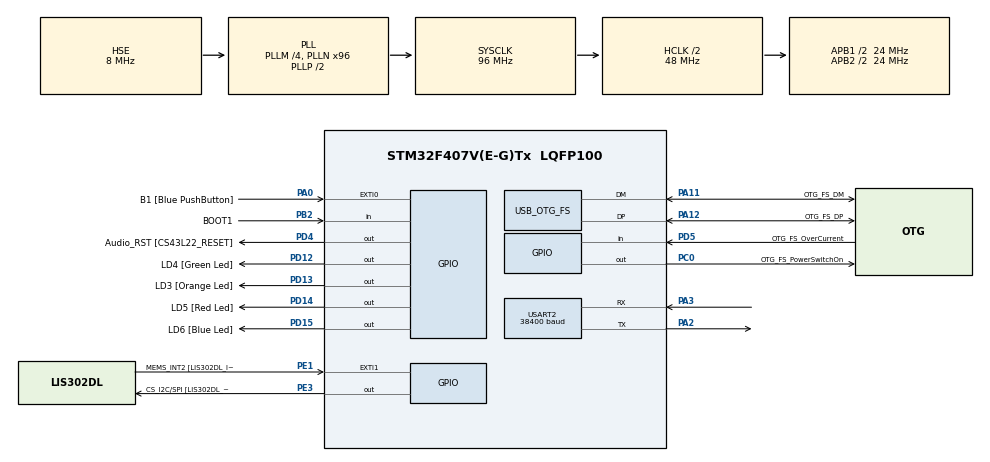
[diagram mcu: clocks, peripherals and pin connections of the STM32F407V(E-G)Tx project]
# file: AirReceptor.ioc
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Mcu.Family=STM32F4
Mcu.Name=STM32F407V(E-G)Tx
Mcu.Package=LQFP100
NVIC.OTG_FS_IRQn=true\:0\:0\:false\:false\:true\:true\:true\:true
NVIC.PriorityGroup=NVIC_PRIORITYGROUP_0
NVIC.USART2_IRQn=true\:0\:0\:false\:false\:true\:true\:true\:true
PA0-WKUP.GPIO_Label=B1 [Blue PushButton]
PA0-WKUP.GPIO_ModeDefaultEXTI=GPIO_MODE_EVT_RISING
PA0-WKUP.GPIO_PuPd=GPIO_NOPULL
PA0-WKUP.Signal=GPXTI0
PA10.GPIO_Label=OTG_FS_ID
PA10.GPIO_Mode=GPIO_MODE_AF_PP
PA10.GPIO_PuPd=GPIO_NOPULL
PA10.GPIO_Speed=GPIO_SPEED_FREQ_LOW
PA10.Signal=USB_OTG_FS_ID
PA11.GPIO_Label=OTG_FS_DM
PA11.GPIO_Mode=GPIO_MODE_AF_PP
PA11.GPIO_PuPd=GPIO_NOPULL
PA11.GPIO_Speed=GPIO_SPEED_FREQ_LOW
PA11.Mode=Device_Only
PA11.Signal=USB_OTG_FS_DM
PA12.GPIO_Label=OTG_FS_DP
PA12.GPIO_Mode=GPIO_MODE_AF_PP
PA12.GPIO_PuPd=GPIO_NOPULL
PA12.GPIO_Speed=GPIO_SPEED_FREQ_LOW
PA12.Mode=Device_Only
PA12.Signal=USB_OTG_FS_DP
PA13.GPIO_Label=SWDIO
PA13.Mode=Serial_Wire
PA13.Signal=SYS_JTMS-SWDIO
PA14.GPIO_Label=SWCLK
PA14.Mode=Serial_Wire
PA14.Signal=SYS_JTCK-SWCLK
PA2.Mode=Asynchronous
PA2.Signal=USART2_TX
PA3.Mode=Asynchronous
PA3.Signal=USART2_RX
PA4.GPIO_Label=I2S3_WS [CS43L22_LRCK]
PA4.GPIO_Mode=GPIO_MODE_AF_PP
PA4.GPIO_PuPd=GPIO_NOPULL
PA4.GPIO_Speed=GPIO_SPEED_FREQ_LOW
PA4.Signal=I2S3_WS
PA5.GPIO_Label=SPI1_SCK [LIS302DL_SCL/SPC]
PA5.GPIO_Mode=GPIO_MODE_AF_PP
PA5.GPIO_PuPd=GPIO_NOPULL
PA5.GPIO_Speed=GPIO_SPEED_FREQ_LOW
PA5.Signal=SPI1_SCK
PA6.GPIO_Label=SPI1_MISO [LIS302DL_SDO]
PA6.GPIO_Mode=GPIO_MODE_AF_PP
PA6.GPIO_PuPd=GPIO_NOPULL
PA6.GPIO_Speed=GPIO_SPEED_FREQ_LOW
PA6.Signal=SPI1_MISO
PA7.GPIO_Label=SPI1_MOSI [LIS302DL_SDA/SDI/SDO]
PA7.GPIO_Mode=GPIO_MODE_AF_PP
PA7.GPIO_PuPd=GPIO_NOPULL
PA7.GPIO_Speed=GPIO_SPEED_FREQ_LOW
PA7.Signal=SPI1_MOSI
PA9.GPIO_Label=VBUS_FS
PA9.GPIO_Mode=GPIO_MODE_INPUT
PA9.GPIO_PuPd=GPIO_NOPULL
PA9.Signal=USB_OTG_FS_VBUS
PB10.GPIO_Label=CLK_IN [MP45DT02_CLK]
PB10.GPIO_Mode=GPIO_MODE_AF_PP
PB10.GPIO_PuPd=GPIO_NOPULL
PB10.GPIO_Speed=GPIO_SPEED_FREQ_LOW
PB10.Signal=I2S2_CK
PB2.GPIO_Label=BOOT1
PB2.GPIO_Mode=GPIO_MODE_INPUT
PB2.GPIO_PuPd=GPIO_NOPULL
PB2.Signal=GPIO_Input
PB3.GPIO_Label=SWO
PB3.Signal=SYS_JTDO-SWO
PB6.GPIO_Label=Audio_SCL [CS43L22_SCL]
PB6.GPIO_Mode=GPIO_MODE_AF_OD
PB6.GPIO_Pu=GPIO_PULLUP
PB6.GPIO_PuPd=GPIO_NOPULL
PB6.GPIO_Speed=GPIO_SPEED_FREQ_LOW
PB6.Signal=I2C1_SCL
PB9.GPIO_Label=Audio_SDA [CS43L22_SDA]
PB9.GPIO_Mode=GPIO_MODE_AF_OD
PB9.GPIO_Pu=GPIO_PULLUP
PB9.GPIO_PuPd=GPIO_NOPULL
PB9.GPIO_Speed=GPIO_SPEED_FREQ_LOW
PB9.Signal=I2C1_SDA
PC0.GPIO_Label=OTG_FS_PowerSwitchOn
PC0.GPIO_PuPd=GPIO_NOPULL
PC0.GPIO_Speed=GPIO_SPEED_FREQ_LOW
PC0.PinState=GPIO_PIN_SET
PC0.Signal=GPIO_Output
PC10.GPIO_Label=I2S3_SCK [CS43L22_SCLK]
PC10.GPIO_Mode=GPIO_MODE_AF_PP
PC10.GPIO_PuPd=GPIO_NOPULL
PC10.GPIO_Speed=GPIO_SPEED_FREQ_LOW
PC10.Signal=I2S3_CK
PC12.GPIO_Label=I2S3_SD [CS43L22_SDIN]
PC12.GPIO_Mode=GPIO_MODE_AF_PP
PC12.GPIO_PuPd=GPIO_NOPULL
PC12.GPIO_Speed=GPIO_SPEED_FREQ_LOW
PC12.Signal=I2S3_SD
PC14-OSC32_IN.GPIO_Label=PC14-OSC32_IN
PC14-OSC32_IN.Mode=LSE-External-Oscillator
PC14-OSC32_IN.Signal=RCC_OSC32_IN
PC15-OSC32_OUT.GPIO_Label=PC15-OSC32_OUT
PC15-OSC32_OUT.Mode=LSE-External-Oscillator
PC15-OSC32_OUT.Signal=RCC_OSC32_OUT
PC3.GPIO_Label=PDM_OUT [MP45DT02_DOUT]
PC3.GPIO_Mode=GPIO_MODE_AF_PP
PC3.GPIO_PuPd=GPIO_NOPULL
PC3.GPIO_Speed=GPIO_SPEED_FREQ_LOW
PC3.Signal=I2S2_SD
PC7.GPIO_Label=I2S3_MCK [CS43L22_MCLK]
PC7.GPIO_Mode=GPIO_MODE_AF_PP
PC7.GPIO_PuPd=GPIO_NOPULL
PC7.GPIO_Speed=GPIO_SPEED_FREQ_LOW
PC7.Signal=I2S3_MCK
PD12.GPIO_Label=LD4 [Green Led]
PD12.GPIO_PuPd=GPIO_NOPULL
PD12.GPIO_Speed=GPIO_SPEED_FREQ_LOW
PD12.Signal=GPIO_Output
PD13.GPIO_Label=LD3 [Orange Led]
PD13.GPIO_PuPd=GPIO_NOPULL
PD13.GPIO_Speed=GPIO_SPEED_FREQ_LOW
PD13.Signal=GPIO_Output
PD14.GPIO_Label=LD5 [Red Led]
PD14.GPIO_PuPd=GPIO_NOPULL
PD14.GPIO_Speed=GPIO_SPEED_FREQ_LOW
PD14.Signal=GPIO_Output
PD15.GPIO_Label=LD6 [Blue Led]
PD15.GPIO_PuPd=GPIO_NOPULL
PD15.GPIO_Speed=GPIO_SPEED_FREQ_LOW
PD15.Signal=GPIO_Output
PD4.GPIO_Label=Audio_RST [CS43L22_RESET]
PD4.GPIO_PuPd=GPIO_NOPULL
PD4.GPIO_Speed=GPIO_SPEED_FREQ_LOW
PD4.Signal=GPIO_Output
PD5.GPIO_Label=OTG_FS_OverCurrent
PD5.GPIO_Mode=GPIO_MODE_INPUT
PD5.GPIO_PuPd=GPIO_NOPULL
PD5.Signal=GPIO_Input
PE1.GPIO_Label=MEMS_INT2 [LIS302DL_INT2]
PE1.GPIO_ModeDefaultEXTI=GPIO_MODE_EVT_RISING
PE1.GPIO_PuPd=GPIO_NOPULL
PE1.Signal=GPXTI1
PE3.GPIO_Label=CS_I2C/SPI [LIS302DL_CS_I2C/SPI]
PE3.GPIO_PuPd=GPIO_NOPULL
PE3.GPIO_Speed=GPIO_SPEED_FREQ_LOW
PE3.Signal=GPIO_Output
PH0-OSC_IN.GPIO_Label=PH0-OSC_IN
PH0-OSC_IN.Mode=HSE-External-Oscillator
PH0-OSC_IN.Signal=RCC_OSC_IN
PH1-OSC_OUT.GPIO_Label=PH1-OSC_OUT
PH1-OSC_OUT.Mode=HSE-External-Oscillator
PH1-OSC_OUT.Signal=RCC_OSC_OUT
ProjectManager.HeapSize=0x200
ProjectManager.StackSize=0x400
ProjectManager.TargetToolchain=STM32CubeIDE
RCC.48MHZClocksFreq_Value=48000000
RCC.AHBCLKDivider=RCC_SYSCLK_DIV2
RCC.AHBFreq_Value=48000000
RCC.APB1CLKDivider=RCC_HCLK_DIV2
RCC.APB1Freq_Value=24000000
RCC.APB1TimFreq_Value=48000000
RCC.APB2CLKDivider=RCC_HCLK_DIV2
RCC.APB2Freq_Value=24000000
RCC.APB2TimFreq_Value=48000000
RCC.CortexFreq_Value=48000000
RCC.HCLKFreq_Value=48000000
RCC.HSE_VALUE=8000000
RCC.HSI_VALUE=16000000
RCC.PLLI2SN=50
RCC.PLLM=4
RCC.PLLN=96
RCC.SYSCLKFreq_VALUE=96000000
RCC.SYSCLKSource=RCC_SYSCLKSOURCE_PLLCLK
RCC.VCOOutputFreq_Value=192000000
USART2.BaudRate=38400
USART2.VirtualMode=VM_ASYNC
USB_DEVICE.CLASS_NAME_FS=HID
USB_DEVICE.VirtualMode-HID_FS=Hid
USB_DEVICE.VirtualModeFS=Hid_FS
USB_OTG_FS.VirtualMode=Device_Only
VP_USB_DEVICE_VS_USB_DEVICE_HID_FS.Mode=HID_FS
board=STM32F407G-DISC1

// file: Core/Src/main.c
/* USER CODE BEGIN Header */
/**
  ******************************************************************************
  * @file           : main.c
  * @brief          : Main program body
  ******************************************************************************
  * @attention
  *
  * Copyright (c) 2022 STMicroelectronics.
  * All rights reserved.
  *
  * This software is licensed under terms that can be found in the LICENSE file
  * in the root directory of this software component.
  * If no LICENSE file comes with this software, it is provided AS-IS.
  *
  ******************************************************************************
  */
/* USER CODE END Header */
#include "main.h"
#include "usb_device.h"

/* USER CODE BEGIN Includes */
#include <string.h>
#include "stdio.h"
#include "usbd_hid.h"
/* USER CODE END Includes */

/* USER CODE BEGIN PTD */
extern USBD_HandleTypeDef hUsbDeviceFS;

typedef struct
{
	uint8_t button;
	int8_t mouse_x;
	int8_t mouse_y;
	int8_t wheel;
} mouseHID;

mouseHID mousehid = {0,0,0,0};
/* USER CODE END PTD */

/* USER CODE BEGIN PD */

#define AccelSensitivity 16384.0
#define GyroSensitivity 131.0

/* USER CODE END PD */

UART_HandleTypeDef huart2;

/* USER CODE BEGIN PV */
int16_t Accel_X_RAW = 0;
int16_t Accel_Y_RAW = 0;
int16_t Accel_Z_RAW = 0;
uint8_t Accel_Data[7];

int16_t Gyro_X_RAW = 0;
int16_t Gyro_Y_RAW = 0;
int16_t Gyro_Z_RAW = 0;
uint8_t Gyro_Data[7];

uint8_t rxData[7];
uint8_t ControlBit[1];
uint8_t handshake_tx[1];
uint8_t handshake_rx[1];
uint8_t handshake_ok = 0;
uint8_t rx_end = 0;

float Ax, Ay, Az, Gx, Gy, Gz;

/* USER CODE END PV */

void SystemClock_Config(void);
static void MX_GPIO_Init(void);
static void MX_USART2_UART_Init(void);

int main(void)
{

  /* MCU Configuration--------------------------------------------------------*/

  /* Reset of all peripherals, Initializes the Flash interface and the Systick. */
  HAL_Init();

  /* Configure the system clock */
  SystemClock_Config();

  /* Initialize all configured peripherals */
  MX_GPIO_Init();
  MX_USART2_UART_Init();
  MX_USB_DEVICE_Init();
  /* USER CODE BEGIN 2 */

  /*
   * F407			F103
   * PA3=RX   -->	PA9
   * PA2=TX   --> 	PA10
   *
   * F103
   * PB8 SCL
   * PB9 SDA
   */

  /* USER CODE END 2 */

  /* Infinite loop */
  while (1)
  {

    /* USER CODE BEGIN 3 */

		  switch(ControlBit[0])
		  {

		  case 1:

			  rx_end = 0;

			  break;
		  case 2:

			  rx_end = 0;

			  Accel_X_RAW = (int16_t)(Accel_Data[0] << 8 | Accel_Data[1]);
			  Accel_Y_RAW = (int16_t)(Accel_Data[2] << 8 | Accel_Data[3]);
			  Accel_Z_RAW = (int16_t)(Accel_Data[4] << 8 | Accel_Data[5]);

			  Ax = Accel_X_RAW/AccelSensitivity;
			  Ay = Accel_Y_RAW/AccelSensitivity;
			  Az = Accel_Z_RAW/AccelSensitivity;

			  break;

		  case 3:

			  rx_end = 0;

			  Gyro_X_RAW = (int16_t)(Gyro_Data[0] << 8 | Gyro_Data[1]);
			  Gyro_Y_RAW = (int16_t)(Gyro_Data[2] << 8 | Gyro_Data[3]);
			  Gyro_Z_RAW = (int16_t)(Gyro_Data[4] << 8 | Gyro_Data[5]);

			  Gx = Gyro_X_RAW/GyroSensitivity;
			  Gy = Gyro_Y_RAW/GyroSensitivity;
			  Gz = Gyro_Z_RAW/GyroSensitivity;

			  break;

		  default:
			  if(rx_end>=200 )
			  {
			  handshake_tx[0] = 1;
			  HAL_UART_Transmit_IT(&huart2, (uint8_t *)handshake_tx, 1);
			  rx_end = 0;
			  }
			  rx_end++;
		  }

		  mousehid.mouse_y = Gy/10;
		  mousehid.mouse_x = Gx/10;
		  USBD_HID_SendReport(&hUsbDeviceFS,&mousehid, sizeof (mousehid));

		  /*while(mousehid.mouse_y < 10)
	  {
		  mousehid.mouse_y++;
		  USBD_HID_SendReport(&hUsbDeviceFS,&mousehid, sizeof (mousehid));
		  HAL_Delay(50);
	  }
	  while(mousehid.mouse_y > -10)
	  {
		  mousehid.mouse_y--;
		  USBD_HID_SendReport(&hUsbDeviceFS,&mousehid, sizeof (mousehid));
		  HAL_Delay(50);
	  }*/

		  //mousehid.mouse_y=-10;
		  //HAL_Delay(50);

  }
  /* USER CODE END 3 */
}

void SystemClock_Config(void)
{
  RCC_OscInitTypeDef RCC_OscInitStruct = {0};
  RCC_ClkInitTypeDef RCC_ClkInitStruct = {0};

  /** Configure the main internal regulator output voltage
  */
  __HAL_RCC_PWR_CLK_ENABLE();
  __HAL_PWR_VOLTAGESCALING_CONFIG(PWR_REGULATOR_VOLTAGE_SCALE1);

  /** Initializes the RCC Oscillators according to the specified parameters
  * in the RCC_OscInitTypeDef structure.
  */
  RCC_OscInitStruct.OscillatorType = RCC_OSCILLATORTYPE_HSE;
  RCC_OscInitStruct.HSEState = RCC_HSE_ON;
  RCC_OscInitStruct.PLL.PLLState = RCC_PLL_ON;
  RCC_OscInitStruct.PLL.PLLSource = RCC_PLLSOURCE_HSE;
  RCC_OscInitStruct.PLL.PLLM = 4;
  RCC_OscInitStruct.PLL.PLLN = 96;
  RCC_OscInitStruct.PLL.PLLP = RCC_PLLP_DIV2;
  RCC_OscInitStruct.PLL.PLLQ = 4;
  if (HAL_RCC_OscConfig(&RCC_OscInitStruct) != HAL_OK)
  {
    Error_Handler();
  }

  /** Initializes the CPU, AHB and APB buses clocks
  */
  RCC_ClkInitStruct.ClockType = RCC_CLOCKTYPE_HCLK|RCC_CLOCKTYPE_SYSCLK
                              |RCC_CLOCKTYPE_PCLK1|RCC_CLOCKTYPE_PCLK2;
  RCC_ClkInitStruct.SYSCLKSource = RCC_SYSCLKSOURCE_PLLCLK;
  RCC_ClkInitStruct.AHBCLKDivider = RCC_SYSCLK_DIV2;
  RCC_ClkInitStruct.APB1CLKDivider = RCC_HCLK_DIV2;
  RCC_ClkInitStruct.APB2CLKDivider = RCC_HCLK_DIV2;

  if (HAL_RCC_ClockConfig(&RCC_ClkInitStruct, FLASH_LATENCY_1) != HAL_OK)
  {
    Error_Handler();
  }
}

static void MX_USART2_UART_Init(void)
{

  huart2.Instance = USART2;
  huart2.Init.BaudRate = 38400;
  huart2.Init.WordLength = UART_WORDLENGTH_8B;
  huart2.Init.StopBits = UART_STOPBITS_1;
  huart2.Init.Parity = UART_PARITY_NONE;
  huart2.Init.Mode = UART_MODE_TX_RX;
  huart2.Init.HwFlowCtl = UART_HWCONTROL_NONE;
  huart2.Init.OverSampling = UART_OVERSAMPLING_16;
  if (HAL_UART_Init(&huart2) != HAL_OK)
  {
    Error_Handler();
  }

}

static void MX_GPIO_Init(void)
{
  GPIO_InitTypeDef GPIO_InitStruct = {0};

  /* GPIO Ports Clock Enable */
  __HAL_RCC_GPIOE_CLK_ENABLE();
  __HAL_RCC_GPIOC_CLK_ENABLE();
  __HAL_RCC_GPIOH_CLK_ENABLE();
  __HAL_RCC_GPIOA_CLK_ENABLE();
  __HAL_RCC_GPIOB_CLK_ENABLE();
  __HAL_RCC_GPIOD_CLK_ENABLE();

  /*Configure GPIO pin Output Level */
  HAL_GPIO_WritePin(CS_I2C_SPI_GPIO_Port, CS_I2C_SPI_Pin, GPIO_PIN_RESET);

  /*Configure GPIO pin Output Level */
  HAL_GPIO_WritePin(OTG_FS_PowerSwitchOn_GPIO_Port, OTG_FS_PowerSwitchOn_Pin, GPIO_PIN_SET);

  /*Configure GPIO pin Output Level */
  HAL_GPIO_WritePin(GPIOD, LD4_Pin|LD3_Pin|LD5_Pin|LD6_Pin
                          |Audio_RST_Pin, GPIO_PIN_RESET);

  /*Configure GPIO pin : CS_I2C_SPI_Pin */
  GPIO_InitStruct.Pin = CS_I2C_SPI_Pin;
  GPIO_InitStruct.Mode = GPIO_MODE_OUTPUT_PP;
  GPIO_InitStruct.Pull = GPIO_NOPULL;
  GPIO_InitStruct.Speed = GPIO_SPEED_FREQ_LOW;
  HAL_GPIO_Init(CS_I2C_SPI_GPIO_Port, &GPIO_InitStruct);

  /*Configure GPIO pin : OTG_FS_PowerSwitchOn_Pin */
  GPIO_InitStruct.Pin = OTG_FS_PowerSwitchOn_Pin;
  GPIO_InitStruct.Mode = GPIO_MODE_OUTPUT_PP;
  GPIO_InitStruct.Pull = GPIO_NOPULL;
  GPIO_InitStruct.Speed = GPIO_SPEED_FREQ_LOW;
  HAL_GPIO_Init(OTG_FS_PowerSwitchOn_GPIO_Port, &GPIO_InitStruct);

  /*Configure GPIO pin : PDM_OUT_Pin */
  GPIO_InitStruct.Pin = PDM_OUT_Pin;
  GPIO_InitStruct.Mode = GPIO_MODE_AF_PP;
  GPIO_InitStruct.Pull = GPIO_NOPULL;
  GPIO_InitStruct.Speed = GPIO_SPEED_FREQ_LOW;
  GPIO_InitStruct.Alternate = GPIO_AF5_SPI2;
  HAL_GPIO_Init(PDM_OUT_GPIO_Port, &GPIO_InitStruct);

  /*Configure GPIO pin : B1_Pin */
  GPIO_InitStruct.Pin = B1_Pin;
  GPIO_InitStruct.Mode = GPIO_MODE_EVT_RISING;
  GPIO_InitStruct.Pull = GPIO_NOPULL;
  HAL_GPIO_Init(B1_GPIO_Port, &GPIO_InitStruct);

  /*Configure GPIO pin : I2S3_WS_Pin */
  GPIO_InitStruct.Pin = I2S3_WS_Pin;
  GPIO_InitStruct.Mode = GPIO_MODE_AF_PP;
  GPIO_InitStruct.Pull = GPIO_NOPULL;
  GPIO_InitStruct.Speed = GPIO_SPEED_FREQ_LOW;
  GPIO_InitStruct.Alternate = GPIO_AF6_SPI3;
  HAL_GPIO_Init(I2S3_WS_GPIO_Port, &GPIO_InitStruct);

  /*Configure GPIO pins : SPI1_SCK_Pin SPI1_MISO_Pin SPI1_MOSI_Pin */
  GPIO_InitStruct.Pin = SPI1_SCK_Pin|SPI1_MISO_Pin|SPI1_MOSI_Pin;
  GPIO_InitStruct.Mode = GPIO_MODE_AF_PP;
  GPIO_InitStruct.Pull = GPIO_NOPULL;
  GPIO_InitStruct.Speed = GPIO_SPEED_FREQ_LOW;
  GPIO_InitStruct.Alternate = GPIO_AF5_SPI1;
  HAL_GPIO_Init(GPIOA, &GPIO_InitStruct);

  /*Configure GPIO pin : BOOT1_Pin */
  GPIO_InitStruct.Pin = BOOT1_Pin;
  GPIO_InitStruct.Mode = GPIO_MODE_INPUT;
  GPIO_InitStruct.Pull = GPIO_NOPULL;
  HAL_GPIO_Init(BOOT1_GPIO_Port, &GPIO_InitStruct);

  /*Configure GPIO pin : CLK_IN_Pin */
  GPIO_InitStruct.Pin = CLK_IN_Pin;
  GPIO_InitStruct.Mode = GPIO_MODE_AF_PP;
  GPIO_InitStruct.Pull = GPIO_NOPULL;
  GPIO_InitStruct.Speed = GPIO_SPEED_FREQ_LOW;
  GPIO_InitStruct.Alternate = GPIO_AF5_SPI2;
  HAL_GPIO_Init(CLK_IN_GPIO_Port, &GPIO_InitStruct);

  /*Configure GPIO pins : LD4_Pin LD3_Pin LD5_Pin LD6_Pin
                           Audio_RST_Pin */
  GPIO_InitStruct.Pin = LD4_Pin|LD3_Pin|LD5_Pin|LD6_Pin
                          |Audio_RST_Pin;
  GPIO_InitStruct.Mode = GPIO_MODE_OUTPUT_PP;
  GPIO_InitStruct.Pull = GPIO_NOPULL;
  GPIO_InitStruct.Speed = GPIO_SPEED_FREQ_LOW;
  HAL_GPIO_Init(GPIOD, &GPIO_InitStruct);

  /*Configure GPIO pins : I2S3_MCK_Pin I2S3_SCK_Pin I2S3_SD_Pin */
  GPIO_InitStruct.Pin = I2S3_MCK_Pin|I2S3_SCK_Pin|I2S3_SD_Pin;
  GPIO_InitStruct.Mode = GPIO_MODE_AF_PP;
  GPIO_InitStruct.Pull = GPIO_NOPULL;
  GPIO_InitStruct.Speed = GPIO_SPEED_FREQ_LOW;
  GPIO_InitStruct.Alternate = GPIO_AF6_SPI3;
  HAL_GPIO_Init(GPIOC, &GPIO_InitStruct);

  /*Configure GPIO pin : OTG_FS_OverCurrent_Pin */
  GPIO_InitStruct.Pin = OTG_FS_OverCurrent_Pin;
  GPIO_InitStruct.Mode = GPIO_MODE_INPUT;
  GPIO_InitStruct.Pull = GPIO_NOPULL;
  HAL_GPIO_Init(OTG_FS_OverCurrent_GPIO_Port, &GPIO_InitStruct);

  /*Configure GPIO pins : Audio_SCL_Pin Audio_SDA_Pin */
  GPIO_InitStruct.Pin = Audio_SCL_Pin|Audio_SDA_Pin;
  GPIO_InitStruct.Mode = GPIO_MODE_AF_OD;
  GPIO_InitStruct.Pull = GPIO_PULLUP;
  GPIO_InitStruct.Speed = GPIO_SPEED_FREQ_LOW;
  GPIO_InitStruct.Alternate = GPIO_AF4_I2C1;
  HAL_GPIO_Init(GPIOB, &GPIO_InitStruct);

  /*Configure GPIO pin : MEMS_INT2_Pin */
  GPIO_InitStruct.Pin = MEMS_INT2_Pin;
  GPIO_InitStruct.Mode = GPIO_MODE_EVT_RISING;
  GPIO_InitStruct.Pull = GPIO_NOPULL;
  HAL_GPIO_Init(MEMS_INT2_GPIO_Port, &GPIO_InitStruct);

}

/* USER CODE BEGIN 4 */
void HAL_UART_TxCpltCallback(UART_HandleTypeDef *huart)
{
  /* Prevent unused argument(s) compilation warning */
  UNUSED(huart);
  /* NOTE: This function should not be modified, when the callback is needed,
           the HAL_UART_TxCpltCallback could be implemented in the user file
   */
	  HAL_UART_Receive_IT(&huart2, (uint8_t *)rxData, 7);

}

void HAL_UART_RxCpltCallback(UART_HandleTypeDef *huart)
{
  /* Prevent unused argument(s) compilation warning */
  UNUSED(huart);
  /* NOTE: This function should not be modified, when the callback is needed,
           the HAL_UART_RxCpltCallback could be implemented in the user file
   */
  switch(rxData[6])
  {
  case 1:
	  ControlBit[0] = rxData[6];
	  handshake_tx[0] = 2;
	  break;

  case 2:
		for(int i=0; i<6; i++)
			{
				Accel_Data[i] = rxData[i];
			}
		ControlBit[0] = rxData[6];
	  handshake_tx[0] = 3;
	  rxData[6] = 0;
	  break;

  case 3:
		for(int i=0; i<6; i++)
			{
				Gyro_Data[i] = rxData[i];
			}
		ControlBit[0] = rxData[6];
	  handshake_tx[0] = 2;
	  rxData[6] = 0;
	  break;

  default:
	  ControlBit[0] = 0;
	  handshake_tx[0] = 1;
	  break;
  }
  HAL_UART_Transmit_IT(&huart2, (uint8_t *)handshake_tx, 1);

}
/* USER CODE END 4 */

void Error_Handler(void)
{
  __disable_irq();
  while (1)
  {
  }
}
